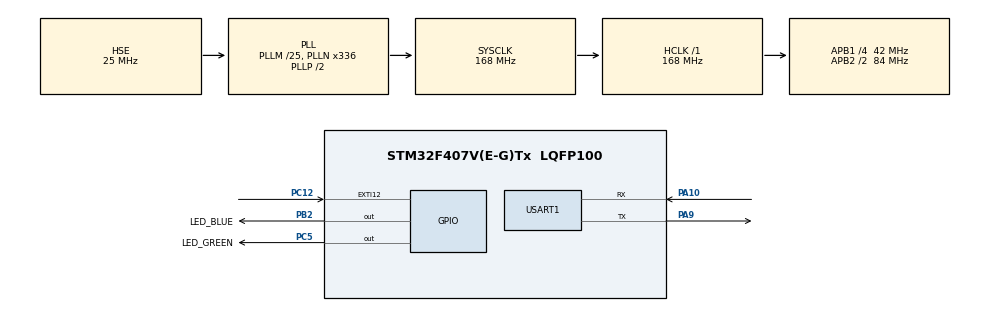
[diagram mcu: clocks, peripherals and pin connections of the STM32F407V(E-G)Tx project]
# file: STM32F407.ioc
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Mcu.Family=STM32F4
Mcu.Name=STM32F407V(E-G)Tx
Mcu.Package=LQFP100
NVIC.PriorityGroup=NVIC_PRIORITYGROUP_4
PA10.Mode=Asynchronous
PA10.Signal=USART1_RX
PA13.Mode=Serial_Wire
PA13.Signal=SYS_JTMS-SWDIO
PA14.Mode=Serial_Wire
PA14.Signal=SYS_JTCK-SWCLK
PA9.Mode=Asynchronous
PA9.Signal=USART1_TX
PB2.GPIO_Label=LED_BLUE
PB2.Signal=GPIO_Output
PC12.GPIO_ModeDefaultEXTI=GPIO_MODE_IT_FALLING
PC12.GPIO_PuPd=GPIO_PULLUP
PC12.Signal=GPXTI12
PC5.GPIO_Label=LED_GREEN
PC5.Signal=GPIO_Output
PH0-OSC_IN.Mode=HSE-External-Oscillator
PH0-OSC_IN.Signal=RCC_OSC_IN
PH1-OSC_OUT.Mode=HSE-External-Oscillator
PH1-OSC_OUT.Signal=RCC_OSC_OUT
ProjectManager.HeapSize=0x200
ProjectManager.StackSize=0x1000
ProjectManager.TargetToolchain=MDK-ARM V5.32
RCC.48MHZClocksFreq_Value=84000000
RCC.AHBFreq_Value=168000000
RCC.APB1CLKDivider=RCC_HCLK_DIV4
RCC.APB1Freq_Value=42000000
RCC.APB1TimFreq_Value=84000000
RCC.APB2CLKDivider=RCC_HCLK_DIV2
RCC.APB2Freq_Value=84000000
RCC.APB2TimFreq_Value=168000000
RCC.CortexFreq_Value=168000000
RCC.HCLKFreq_Value=168000000
RCC.HSE_VALUE=25000000
RCC.HSI_VALUE=16000000
RCC.LSE_VALUE=32768
RCC.PLLM=25
RCC.PLLN=336
RCC.PLLSourceVirtual=RCC_PLLSOURCE_HSE
RCC.SYSCLKFreq_VALUE=168000000
RCC.SYSCLKSource=RCC_SYSCLKSOURCE_PLLCLK
RCC.VCOOutputFreq_Value=336000000
USART1.VirtualMode=VM_ASYNC
board=custom

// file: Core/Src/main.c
/* USER CODE BEGIN Header */
/**==================================================================================================================
 ** 【代码编写】  魔女开发板团队
 ** 【淘    宝】  魔女开发板       https://demoboard.taobao.com
 **==================================================================================================================
 ** 【实验名称】  障碍物检测（红外/避障传感器）
 **
 ** 【适用平台】  STM32F407 + Keil5 + HAL库
 **
 ** 【功能概述】  本程序通过读取传感器输出引脚电平，判断是否有障碍物，并控制 LED 指示及串口输出。
 **               1. 初始化系统时钟、GPIO 及 UART1
 **               2. 主循环中每隔 500ms 读取一次传感器输出引脚（PC12）状态
 **               3. 若检测到低电平（障碍物），点亮蓝色 LED（PB2）并打印提示信息
 **               4. 若无障碍物，熄灭蓝色 LED
 **               5. 绿色 LED（PC5）周期性闪烁（500ms 周期），指示系统运行状态
 **               6. 支持 printf 输出，串口重定向至 UART1
 **
 ** 【硬件接线】  1. 传感器（如红外避障模块、超声波模块等）输出引脚接 PC12
 **               2. 蓝色 LED 接 PB2（低电平点亮）
 **               3. 绿色 LED 接 PC5（低电平点亮，由 HAL_GPIO_TogglePin 控制）
 **               4. UART1 用于调试输出，默认引脚 PA9(TX)、PA10(RX)
 **
 ** 【移植说明】  1. 若传感器引脚不同，可修改 HAL_GPIO_ReadPin 中的引脚参数
 **               2. 若需修改 LED 引脚或极性，可调整 HAL_GPIO_WritePin 的 GPIO 端口及引脚
 **               3. printf 重定向已实现，无需额外配置
 **               4. 如需修改检测间隔，可调整 main 循环中的延时时间
 **
 ** 【使用说明】  1. 编译下载后，开发板绿色 LED 开始周期性闪烁
 **               2. 当传感器检测到障碍物时，蓝色 LED 亮起，串口输出“发现障碍物！”
 **               3. 打开串口助手（115200-8-N-1），可看到障碍物提示信息
 **
 ** 【调试建议】  1. 若蓝色 LED 常亮或不亮，检查传感器输出电平是否正常
 **               2. 可使用万用表测量 PC12 引脚电压，确认传感器工作状态
 **               3. 若串口无输出，检查 UART 引脚连接及波特率设置
 **               4. 若绿色 LED 不闪烁，检查系统时钟及 GPIO 初始化
 **
 ** 【更新记录】  2025-03-16  创建障碍物检测测试程序
 **
 ** 【备注说明】  版权归魔女科技所有，仅供学习使用，请勿用于商业用途。
 **               https://demoboard.taobao.com
 **
==================================================================================================================**/
/* USER CODE END Header */
#include "main.h"
#include "usart.h"
#include "gpio.h"

void SystemClock_Config(void);

/* USER CODE BEGIN 0 */

/******************************************************************************
 * 功能说明： printf函数支持代码
 *           【特别注意】加入以下代码, 使用printf函数时, 不再需要打勾use MicroLIB
 * 备    注：
 * 最后更新： 2024年06月07日
 ******************************************************************************/
#include "stdio.h"                         // 引用C语言标准库，它定义了标准输入输出函数; 如：printf、scanf、sprintf、fopen 等;
#include "stdarg.h"                        // 引用C语言标准库，它定义了处理可变参数的宏; 如：va_start、va_arg、va_end、va_list 等;
#include "string.h"                        // 引用C语言标准库，它定义了操作字符串的函数; 如：strcpy、strcmp、strlen、memset、memcpy 等;

#pragma import(__use_no_semihosting)

struct __FILE
{
    int handle;
};                                         // 标准库需要的支持函数

FILE __stdout;                             // FILE 在stdio.h文件
void _sys_exit(int x)
{
    x = x;                                 // 定义_sys_exit()以避免使用半主机模式
}

int fputc(int ch, FILE *f)                 // 重定向fputc函数，使printf的输出，由fputc输出到UART
{
    HAL_UART_Transmit(&huart1, (uint8_t *)&ch, 1, 10);
    return ch;
}

/* USER CODE END 0 */

int main(void)
{

    /* USER CODE BEGIN 1 */

    /* 说明：
     * 1. 不要删除CubeMX生成的注释行（形如 USER CODE BEGIN/END），这些注释用于代码重新生成时的定位
     * 2. 所有用户自定义代码必须写在对应的BEGIN与END注释行之间，否则重新生成时会被覆盖
     * 3. 主要初始化函数说明：
     *    - HAL_Init()            初始化HAL库，配置中断优先级、系统时基等
     *    - SystemClock_Config()  配置系统时钟
     *    - MX_GPIO_Init()        初始化GPIO引脚（仅包含推挽输出、中断触发等配置）
     *    - 外设功能引脚（如UART、SPI等）的初始化在各自的功能文件中
     */

    /* USER CODE END 1 */

    /* MCU Configuration--------------------------------------------------------*/

    /* Reset of all peripherals, Initializes the Flash interface and the Systick. */
    HAL_Init();

    /* Configure the system clock */
    SystemClock_Config();

    /* Initialize all configured peripherals */
    MX_GPIO_Init();
    MX_USART1_UART_Init();
    /* USER CODE BEGIN 2 */
    HAL_GPIO_WritePin(GPIOB, GPIO_PIN_2, GPIO_PIN_SET);            // 熄灭蓝色LED; 引脚PB2, 高电平断路熄灭;

    /* USER CODE END 2 */

    /* Infinite loop */
    while (1)
    {

        /* USER CODE BEGIN 3 */
        HAL_Delay(500);                                            // 延时间隔

        /** 当遇到障碍物：亮灯、printf输出提示信息 **/
        uint8_t state = HAL_GPIO_ReadPin(GPIOC, GPIO_PIN_12);      // 读取OUT引脚电平; 只是读引脚电平，用哪个引脚都可以，无需提前初始化
        if (state == 0)                                            // 判断 OUT 引脚是否是低电平(闲时高电平，遇到障碍物时持续输出低电平)
        {
            HAL_GPIO_WritePin(GPIOB, GPIO_PIN_2, GPIO_PIN_RESET);  // 点亮蓝色LED; 引脚PB2, 低电平通路点亮;
            printf("发现障碍物！\r\n");                            // 打印提示信息; printf需要预先使能UART1，并重定向到UART1输出
        }
        else
        {
            HAL_GPIO_WritePin(GPIOB, GPIO_PIN_2, GPIO_PIN_SET);    // 熄灭蓝色LED; 引脚PB2, 高电平断路熄灭;
        }

        /** 每500ms执行一次的任务 **/
        static uint32_t lastTime_500ms = 0;                        // 定义静态变量，用于记录上次执行这个任务的时间点(单位：毫秒)
        if (HAL_GetTick() - lastTime_500ms >= 500)                 // 检查当前时间距离上次执行是否已经过了500ms; HAL_GetTick()是获取启动后经过的毫秒数;
        {
            HAL_GPIO_TogglePin(GPIOC, GPIO_PIN_5);                 // 控制绿色LED引脚电平翻转(PC5); 规律地闪烁LED，方便外部观察系统是否正常运行
            lastTime_500ms =   HAL_GetTick();                      // 记录当前时间，作为新的基准点，为下一次判断做准备
        }

    }
    /* USER CODE END 3 */
}

void SystemClock_Config(void)
{
    RCC_OscInitTypeDef RCC_OscInitStruct = {0};
    RCC_ClkInitTypeDef RCC_ClkInitStruct = {0};

    /** Configure the main internal regulator output voltage
    */
    __HAL_RCC_PWR_CLK_ENABLE();
    __HAL_PWR_VOLTAGESCALING_CONFIG(PWR_REGULATOR_VOLTAGE_SCALE1);

    /** Initializes the RCC Oscillators according to the specified parameters
    * in the RCC_OscInitTypeDef structure.
    */
    RCC_OscInitStruct.OscillatorType = RCC_OSCILLATORTYPE_HSE;
    RCC_OscInitStruct.HSEState = RCC_HSE_ON;
    RCC_OscInitStruct.PLL.PLLState = RCC_PLL_ON;
    RCC_OscInitStruct.PLL.PLLSource = RCC_PLLSOURCE_HSE;
    RCC_OscInitStruct.PLL.PLLM = 25;
    RCC_OscInitStruct.PLL.PLLN = 336;
    RCC_OscInitStruct.PLL.PLLP = RCC_PLLP_DIV2;
    RCC_OscInitStruct.PLL.PLLQ = 4;
    if (HAL_RCC_OscConfig(&RCC_OscInitStruct) != HAL_OK)
    {
        Error_Handler();
    }

    /** Initializes the CPU, AHB and APB buses clocks
    */
    RCC_ClkInitStruct.ClockType = RCC_CLOCKTYPE_HCLK | RCC_CLOCKTYPE_SYSCLK
                                  | RCC_CLOCKTYPE_PCLK1 | RCC_CLOCKTYPE_PCLK2;
    RCC_ClkInitStruct.SYSCLKSource = RCC_SYSCLKSOURCE_PLLCLK;
    RCC_ClkInitStruct.AHBCLKDivider = RCC_SYSCLK_DIV1;
    RCC_ClkInitStruct.APB1CLKDivider = RCC_HCLK_DIV4;
    RCC_ClkInitStruct.APB2CLKDivider = RCC_HCLK_DIV2;

    if (HAL_RCC_ClockConfig(&RCC_ClkInitStruct, FLASH_LATENCY_5) != HAL_OK)
    {
        Error_Handler();
    }
}

void Error_Handler(void)
{
    __disable_irq();
    while (1)
    {
    }
}
